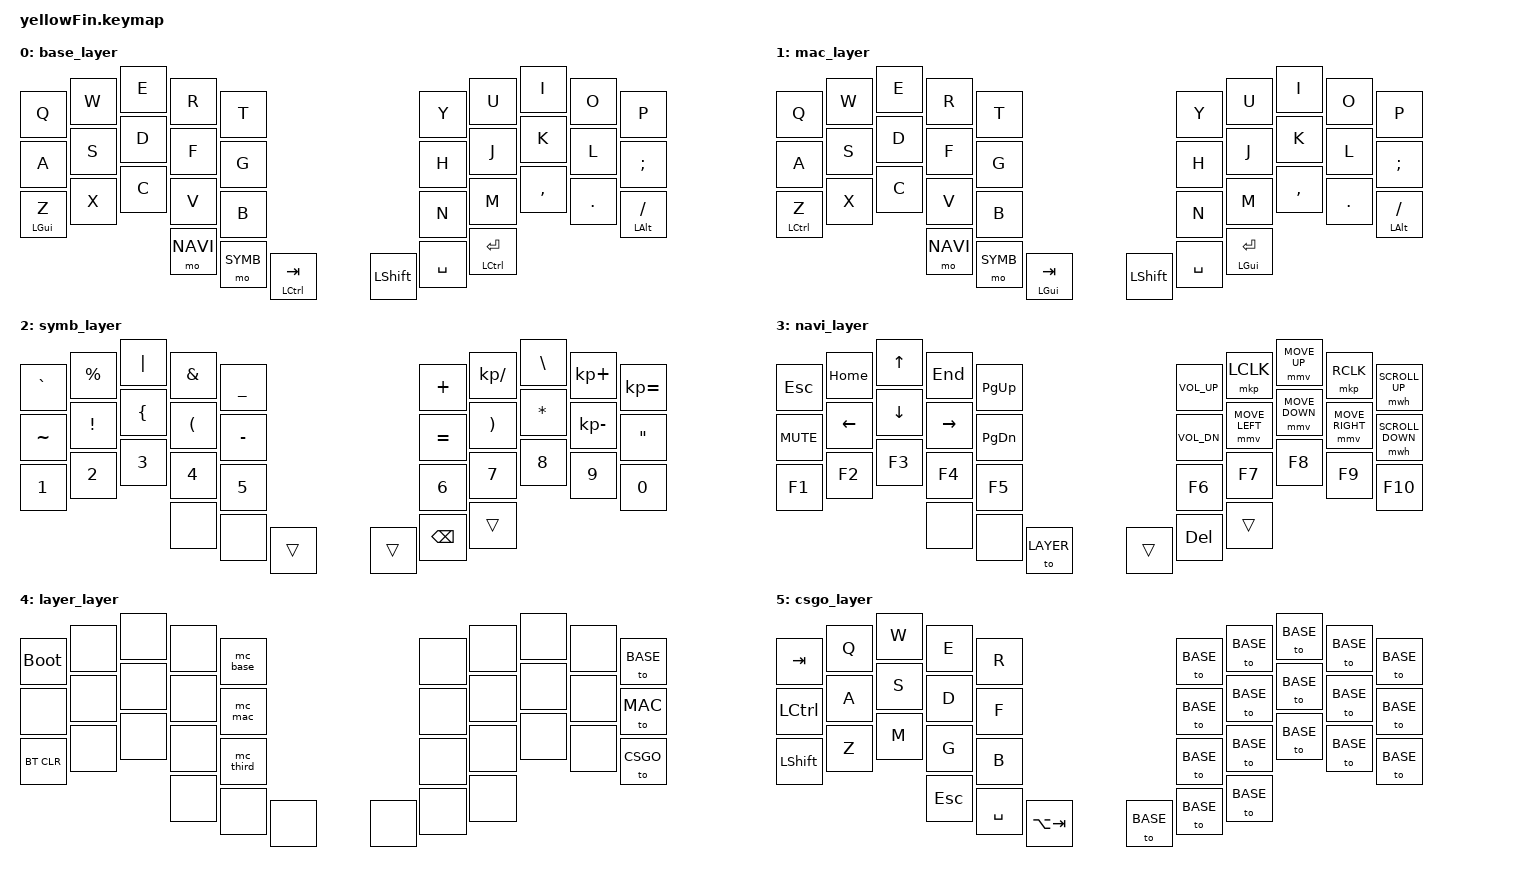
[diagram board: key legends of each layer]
#include <behaviors.dtsi>
#include <dt-bindings/zmk/keys.h>
#include <dt-bindings/zmk/bt.h>
#include <dt-bindings/zmk/mouse.h>

#define BASE 0
#define MAC   1
#define SYMB   2
#define NAVI   3
#define LAYER 4
#define CSGO    5

&mt {
    tapping-term-ms = <300>;
};

/ {  
    macros {
        mc_base: mc_base {
            label = "ZM_mc_base";
            compatible = "zmk,behavior-macro";
            #binding-cells = <0>;
            bindings
                = <&bt BT_SEL BASE &to BASE>;
        };
        mc_mac: mc_mac {
            label = "ZM_mc_mac";
            compatible = "zmk,behavior-macro";
            #binding-cells = <0>;
            bindings
                = <&bt BT_SEL MAC &to MAC>;
        };
        mc_third: mc_third {
            label = "ZM_mc_third";
            compatible = "zmk,behavior-macro";
            #binding-cells = <0>;
            bindings
                = <&bt BT_SEL 2 &to BASE>;
        };
    };
    behaviors {
        ht_tp: holdtap_tappref {
            compatible = "zmk,behavior-hold-tap";
            label = "HOLDTAP_TAPPREF";
            #binding-cells = <2>;
            tapping-term-ms = <300>;
            quick-tap-ms = <0>;
            flavor = "tap-preferred";
            bindings = <&kp>, <&kp>;
        };
    };
    keymap {
        compatible = "zmk,keymap";

        base_layer {
            bindings = <
                &kp Q           &kp W   &kp E   &kp R   &kp T                   &kp Y           &kp U       &kp I               &kp O       &kp P
                &kp A           &kp S   &kp D   &kp F   &kp G                   &kp H           &kp J       &kp K               &kp L       &kp SEMICOLON
                &ht_tp LEFT_GUI Z  &kp X   &kp C   &kp V   &kp B                   &kp N           &kp M       &kp COMMA           &kp DOT     &ht_tp LEFT_ALT SLASH
                                        &mo NAVI   &mo SYMB   &mt LEFT_CONTROL TAB    &kp LEFT_SHIFT  &kp SPACE   &mt LEFT_CONTROL RET
            >;
        }; 

        mac_layer {
            bindings = <
                &kp Q               &kp W   &kp E   &kp R   &kp T                   &kp Y           &kp U       &kp I               &kp O       &kp P
                &kp A               &kp S   &kp D   &kp F   &kp G                   &kp H           &kp J       &kp K               &kp L       &kp SEMICOLON
                &ht_tp LEFT_CONTROL Z  &kp X   &kp C      &kp V      &kp B                   &kp N           &kp M       &kp COMMA           &kp DOT     &ht_tp LEFT_ALT SLASH
                                            &mo NAVI   &mo SYMB   &mt LEFT_GUI TAB    &kp LEFT_SHIFT  &kp SPACE   &mt LEFT_GUI RET
            >;
        }; 

        symb_layer {
            bindings = <
                &kp GRAVE   &kp PERCENT       &kp PIPE         &kp AMPERSAND             &kp UNDERSCORE         &kp PLUS        &kp KP_SLASH                &kp BACKSLASH   &kp KP_PLUS     &kp KP_EQUAL
                &kp TILDE   &kp EXCLAMATION   &kp LEFT_BRACE   &kp LEFT_PARENTHESIS      &kp MINUS              &kp EQUAL       &kp RIGHT_PARENTHESIS       &kp ASTERISK    &kp KP_MINUS    &kp DOUBLE_QUOTES
                &kp N1      &kp N2            &kp N3           &kp N4                    &kp N5                 &kp N6          &kp N7                      &kp N8          &kp N9          &kp N0
                                              &none            &none                     &trans                &trans  &kp BACKSPACE               &trans
            >;
        };  

        navi_layer {
            bindings = <
                &kp ESCAPE  &kp HOME    &kp UP      &kp END     &kp PG_UP   &kp C_VOL_UP    &mkp LCLK    &mmv MOVE_UP      &mkp RCLK     &mwh SCROLL_UP
                &kp K_MUTE  &kp LEFT    &kp DOWN    &kp RIGHT   &kp PG_DN   &kp C_VOL_DN    &mmv MOVE_LEFT    &mmv MOVE_DOWN    &mmv MOVE_RIGHT   &mwh SCROLL_DOWN
                &kp F1      &kp F2      &kp F3      &kp F4      &kp F5      &kp F6          &kp F7      &kp F8      &kp F9      &kp F10 
                                        &none       &none       &to LAYER   &trans &kp DELETE  &trans
            >;
        };

        layer_layer {
            bindings = <
                &bootloader &none   &none   &none   &mc_base        &none   &none       &none   &none   &to BASE   
                &none       &none   &none   &none   &mc_mac         &none   &none       &none   &none   &to MAC   
                &bt BT_CLR  &none   &none   &none   &mc_third       &none   &none       &none   &none   &to CSGO   
                                    &none   &none   &none                      &none   &none       &none      
            >;
        }; 

        csgo_layer {
            bindings = <
                &kp TAB       &kp Q  &kp W  &kp E  &kp R &to BASE &to BASE &to BASE &to BASE &to BASE     
                &kp LCTRL      &kp A  &kp S  &kp D  &kp F &to BASE &to BASE &to BASE &to BASE &to BASE 
                &kp LSHFT      &kp Z  &kp M  &kp G  &kp B &to BASE &to BASE &to BASE &to BASE &to BASE    
                                    &kp ESCAPE  &kp SPACE  &kp LA(TAB)  &to BASE &to BASE &to BASE     
            >;
        }; 

    };
};
